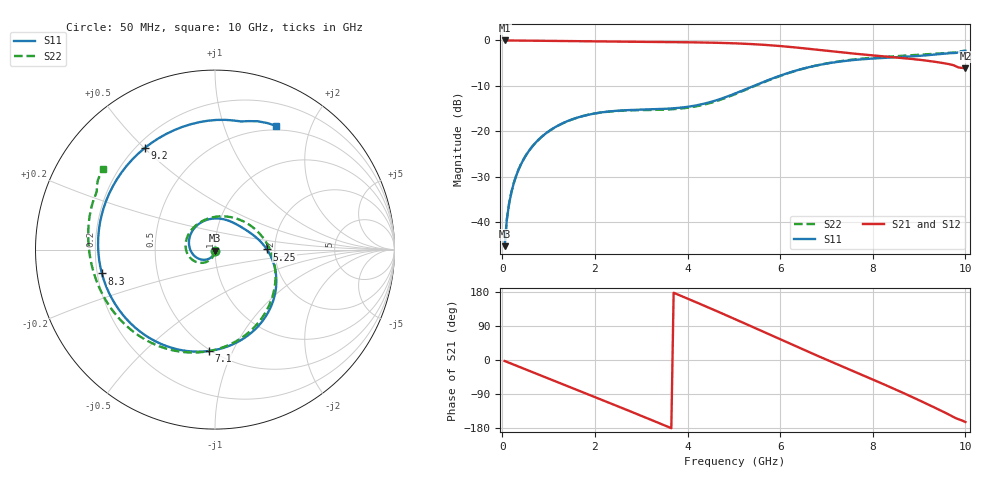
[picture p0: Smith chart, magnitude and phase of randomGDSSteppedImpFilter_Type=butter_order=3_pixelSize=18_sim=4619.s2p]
! freq	dB(S11)	phase(S11)	dB(S12)	phase(S12)
!  dB(S21)	phase(S21)	dB(S22)	phase(S22)
!S-par simulation data
#  GHz  S  DB  R 50
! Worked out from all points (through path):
!   200 points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, 50 MHz to 10 GHz, reference 50 ohm
!   highest |S21| = -0.01 dB at 50 MHz (marker M1); lowest = -6.1 dB at 10 GHz (marker M2)
!   group delay of S21, straight-line fit = 146 ps
!   lowest |S11| = -45.3 dB at 50 MHz (marker M3), VSWR 1.01, Z = 50 - j0.541 ohm
!   |S11| at or under -10 dB: start of sweep to 5.433 GHz
!   |S22| runs from -45.3 to -2.3 dB; largest |S21 - S12| = 0
!   S11 on the Smith chart (normalised r, x): 50 MHz: 1.00, -0.01; 5.25 GHz: 1.81, +0.00; 7.1 GHz: 0.49, -0.81; 8.3 GHz: 0.22, -0.10; 9.2 GHz: 0.23, +0.50; 10 GHz: 0.45, +1.52
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0.05  -45.33 -92.2  -0.01 -2.5  -0.01 -2.5  -45.26 -91.5
0.1  -39.32 -95.5  -0.02 -5.0  -0.02 -5.0  -39.25 -94.0
0.2  -33.32 -101.5  -0.03 -9.9  -0.03 -9.9  -33.25 -98.4
0.5  -25.50 -118.9  -0.05 -24.6  -0.05 -24.6  -25.48 -111.3
1.15  -19.06 -156.2  -0.12 -56.4  -0.12 -56.4  -19.09 -138.4
1.75  -16.63 169.2  -0.19 -85.7  -0.19 -85.7  -16.64 -162.8
2.5  -15.48 125.9  -0.27 -122.4  -0.27 -122.4  -15.53 166.9
3.4  -15.13 76.4  -0.35 -167.3  -0.35 -167.3  -15.28 126.3
3.8  -14.87 57.3  -0.39 172.4  -0.39 172.4  -15.06 104.7
4.2  -14.29 40.6  -0.44 151.7  -0.44 151.7  -14.50 80.1
5.05  -11.61 8.3  -0.66 106.5  -0.66 106.5  -11.76 22.7
5.25  -10.77 0.2  -0.74 95.7  -0.74 95.7  -10.91 9.5
5.9  -8.13 -29.5  -1.16 60.1  -1.16 60.1  -8.20 -30.9
6.7  -5.71 -71.3  -1.94 16.8  -1.94 16.8  -5.71 -74.8
7.1  -4.94 -93.6  -2.38 -4.4  -2.38 -4.4  -4.89 -94.6
7.7  -4.21 -129.1  -3.01 -35.7  -3.01 -35.7  -4.08 -121.9
8.3  -3.82 -168.1  -3.57 -67.4  -3.57 -67.4  -3.60 -146.9
8.35  -3.79 -171.6  -3.62 -70.1  -3.62 -70.1  -3.57 -148.9
8.8  -3.55 155.7  -4.04 -94.8  -4.04 -94.8  -3.29 -166.7
9.2  -3.25 124.8  -4.51 -117.6  -4.51 -117.6  -3.03 177.5
9.6  -2.86 93.2  -5.14 -141.3  -5.14 -141.3  -2.76 161.1
10  -2.28 63.7  -6.15 -163.7  -6.15 -163.7  -2.29 144.2
